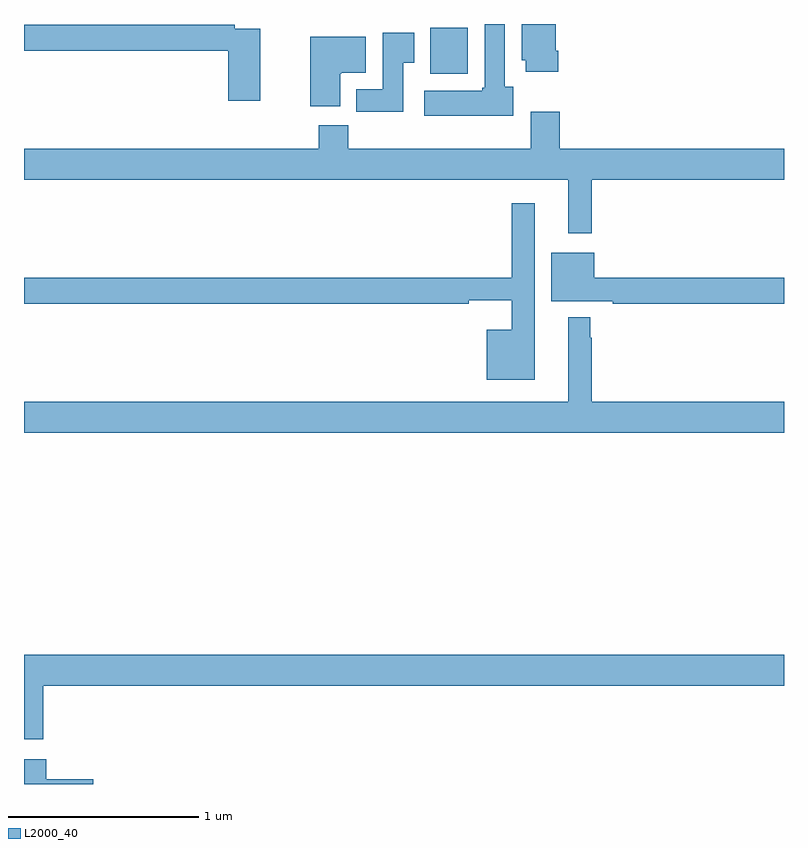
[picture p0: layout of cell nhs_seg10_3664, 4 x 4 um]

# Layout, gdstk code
import gdstk
lib = gdstk.Library(unit=1e-6, precision=1e-09)
def R(c, l, rs):  # rectangles x0, y0, x1, y1
    for r in rs: c.add(gdstk.rectangle(r[:2], r[2:], *l))
def P(c, l, *ps):  # polygons
    for p in ps: c.add(gdstk.Polygon(p, *l))
L2000_40 = (2000, 40)

nhs_seg10_3664 = lib.new_cell('nhs_seg10_3664')
R(nhs_seg10_3664, L2000_40, [(313.139,1270.238,313.336,1270.48)])
P(nhs_seg10_3664, L2000_40, [(313.811,1270.36),(313.798,1270.36),(313.798,1270.5),(313.619,1270.5),(313.619,1270.308),(313.64,1270.308),(313.64,1270.248),(313.811,1270.248)],
  [(313.576,1270.17),(313.531,1270.17),(313.531,1270.5),(313.424,1270.5),(313.424,1270.164),(313.411,1270.164),(313.411,1270.15),(313.107,1270.15),(313.107,1270.016),(313.576,1270.016)],
  [(312.244,1270.476),(312.11,1270.476),(312.11,1270.496),(311,1270.496),(311,1270.36),(312.074,1270.36),(312.074,1270.095),(312.244,1270.095)],
  [(312.997,1270.297),(313.054,1270.297),(313.054,1270.453),(312.887,1270.453),(312.887,1270.156),(312.749,1270.156),(312.749,1270.038),(312.997,1270.038)],
  [(312.664,1270.238),(312.67,1270.238),(312.67,1270.244),(312.799,1270.244),(312.799,1270.432),(312.506,1270.432),(312.506,1270.068),(312.664,1270.068)],
  [(313.987,1269.68),(315,1269.68),(315,1269.844),(313.82,1269.844),(313.82,1270.039),(313.667,1270.039),(313.667,1269.844),(312.707,1269.844),(312.707,1269.968),(312.551,1269.968),(312.551,1269.844),(311,1269.844),(311,1269.68),(313.865,1269.68),(313.865,1269.399),(313.987,1269.399)],
  [(313.687,1269.556),(313.566,1269.556),(313.566,1269.164),(311,1269.164),(311,1269.028),(313.34,1269.028),(313.34,1269.047),(313.566,1269.047),(313.566,1268.89),(313.436,1268.89),(313.436,1268.627),(313.687,1268.627)],
  [(315,1269.164),(314.002,1269.164),(314.002,1269.295),(313.775,1269.295),(313.775,1269.041),(314.098,1269.041),(314.098,1269.028),(315,1269.028)],
  [(315,1268.512),(313.987,1268.512),(313.987,1268.849),(313.98,1268.849),(313.98,1268.956),(313.865,1268.956),(313.865,1268.512),(311,1268.512),(311,1268.348),(315,1268.348)],
  [(311.101,1267.016),(315,1267.016),(315,1267.18),(311,1267.18),(311,1266.735),(311.101,1266.735)],
  [(311.365,1266.525),(311.116,1266.525),(311.116,1266.631),(311,1266.631),(311,1266.5),(311.365,1266.5)])

lib.write_gds('nhs_seg10_3664.gds')
